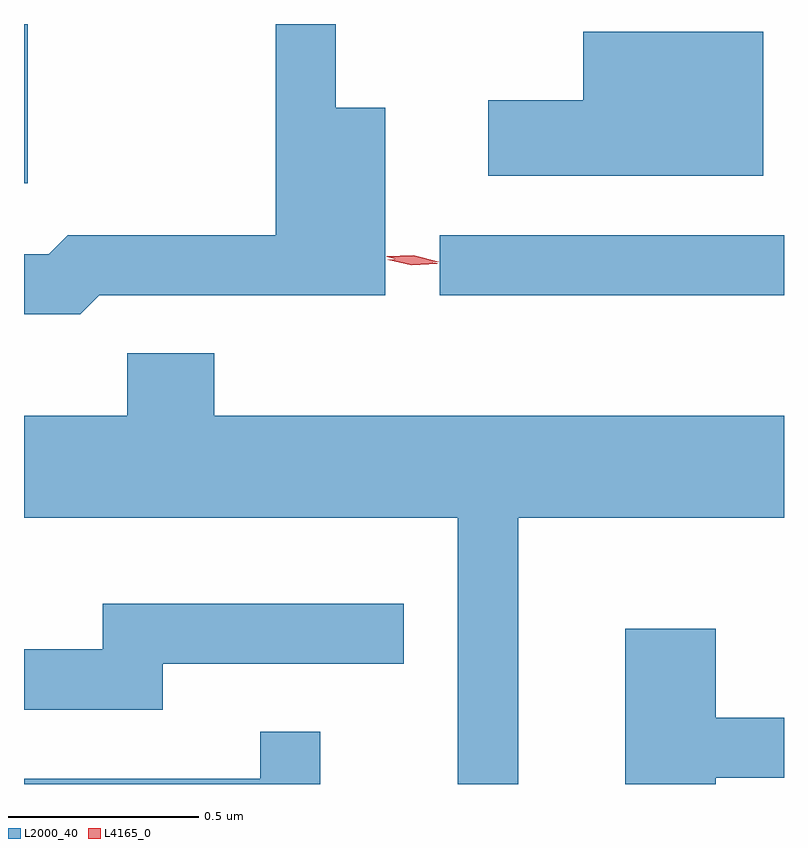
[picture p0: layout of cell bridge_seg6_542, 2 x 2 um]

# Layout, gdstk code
import gdstk
lib = gdstk.Library(unit=1e-6, precision=1e-09)
def R(c, l, rs):  # rectangles x0, y0, x1, y1
    for r in rs: c.add(gdstk.rectangle(r[:2], r[2:], *l))
def P(c, l, *ps):  # polygons
    for p in ps: c.add(gdstk.Polygon(p, *l))
L2000_40 = (2000, 40)
L4165_0 = (4165, 0)

bridge_seg6_542 = lib.new_cell('bridge_seg6_542')
R(bridge_seg6_542, L2000_40, [(906.668,1546.181,907.574,1546.339), (905.574,1546.476,905.584,1546.895)])
P(bridge_seg6_542, L2000_40, [(905.772,1546.181),(906.524,1546.181),(906.524,1546.674),(906.394,1546.674),(906.394,1546.895),(906.236,1546.895),(906.236,1546.339),(905.689,1546.339),(905.639,1546.289),(905.574,1546.289),(905.574,1546.131),(905.722,1546.131)],
  [(907.519,1546.874),(907.046,1546.874),(907.046,1546.694),(906.796,1546.694),(906.796,1546.496),(907.519,1546.496)],
  [(906.874,1545.596),(907.574,1545.596),(907.574,1545.864),(906.074,1545.864),(906.074,1546.029),(905.846,1546.029),(905.846,1545.864),(905.574,1545.864),(905.574,1545.596),(906.716,1545.596),(906.716,1544.895),(906.874,1544.895)],
  [(905.939,1545.211),(906.573,1545.211),(906.573,1545.369),(905.781,1545.369),(905.781,1545.249),(905.574,1545.249),(905.574,1545.091),(905.939,1545.091)],
  [(907.394,1544.911),(907.574,1544.911),(907.574,1545.069),(907.394,1545.069),(907.394,1545.304),(907.156,1545.304),(907.156,1544.895),(907.394,1544.895)],
  [(906.354,1545.033),(906.196,1545.033),(906.196,1544.909),(905.574,1544.909),(905.574,1544.895),(906.354,1544.895)])
P(bridge_seg6_542, L4165_0, [(906.596,1546.266),(906.528,1546.283),(906.528,1546.283),(906.528,1546.284),(906.598,1546.286),(906.665,1546.27),(906.666,1546.27),(906.665,1546.269)],
  [(906.595,1546.26),(906.531,1546.274),(906.53,1546.275),(906.531,1546.275),(906.597,1546.28),(906.662,1546.265),(906.662,1546.264),(906.662,1546.264)])

lib.write_gds('bridge_seg6_542.gds')
